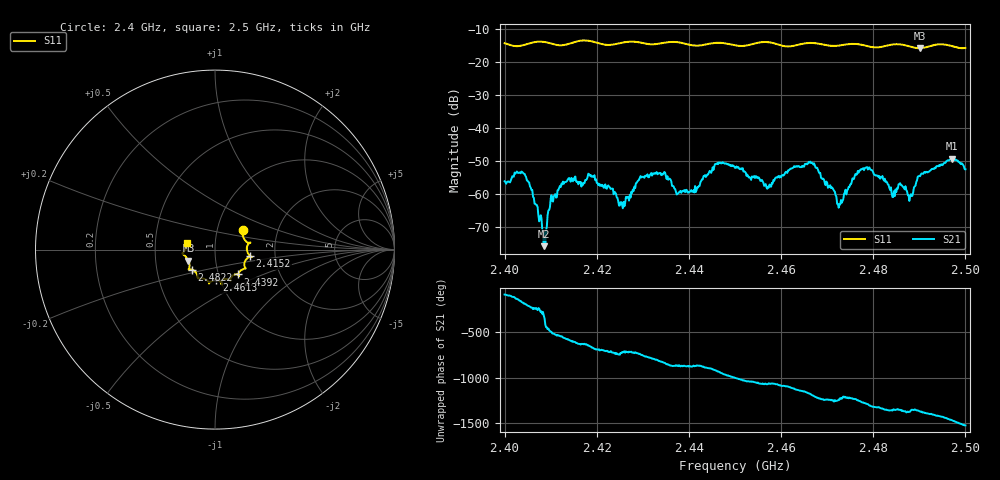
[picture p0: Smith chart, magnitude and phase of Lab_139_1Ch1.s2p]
# Hz S RI R
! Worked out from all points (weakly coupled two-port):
!   601 points, 2.4 GHz to 2.5 GHz, reference 50 ohm
!   highest |S21| = -49.34 dB at 2.497 GHz (marker M1); lowest = -75.9 dB at 2.4085 GHz (marker M2)
!   lowest |S11| = -15.9 dB at 2.4902 GHz (marker M3), VSWR 1.38, Z = 36.9 - j4.63 ohm
!   |S11| at or under -10 dB: start of sweep to end of sweep
!   S12 and S22 are empty: the file has one direction only
!   S11 on the Smith chart (normalised r, x): 2.4 GHz: 1.33, +0.30; 2.4152 GHz: 1.48, -0.11; 2.4392 GHz: 1.23, -0.35; 2.4613 GHz: 0.96, -0.34; 2.4822 GHz: 0.76, -0.17; 2.5 GHz: 0.73, +0.05
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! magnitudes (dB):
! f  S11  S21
! 2.4 GHz  -14.4  -56.2
! 2.4042 GHz  -14.9  -53.9
! 2.4085 GHz  -14.0  -75.9
! 2.4105 GHz  -14.6  -62.4
! 2.4152 GHz  -14.0  -55.8
! 2.4167 GHz  -13.6  -57.8
! 2.419 GHz  -13.8  -54.8
! 2.4255 GHz  -14.2  -63.6
! 2.4333 GHz  -14.6  -53.8
! 2.4392 GHz  -14.5  -59.5
! 2.45 GHz  -15.0  -52.1
! 2.4573 GHz  -14.1  -58.1
! 2.4613 GHz  -15.4  -53.7
! 2.4667 GHz  -14.3  -50.6
! 2.4727 GHz  -15.1  -63.3
! 2.4772 GHz  -14.8  -52.9
! 2.4822 GHz  -15.4  -55.6
! 2.4833 GHz  -15.0  -57.3
! 2.488 GHz  -15.4  -60.9
! 2.4902 GHz  -15.9  -54.7
! 2.497 GHz  -15.2  -49.3
! 2.5 GHz  -15.8  -52.6
